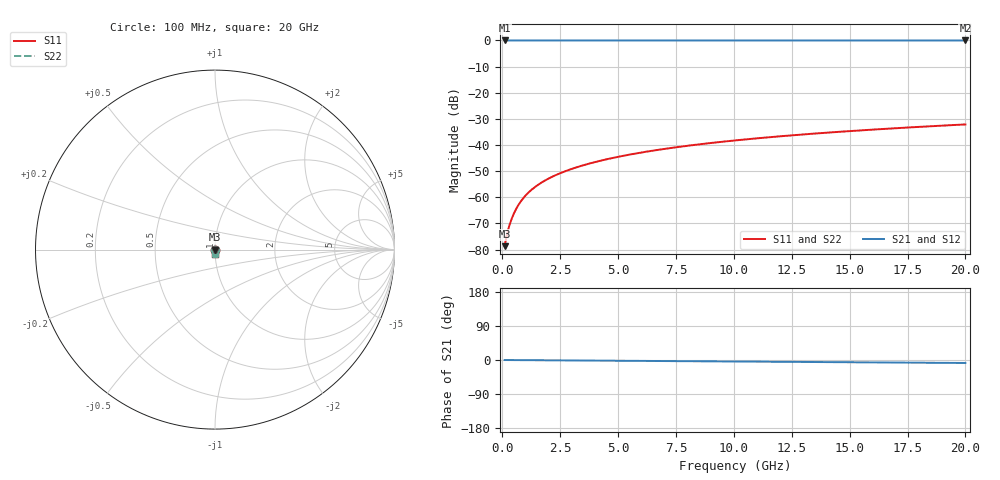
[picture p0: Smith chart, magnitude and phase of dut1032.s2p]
! Touchstone file exported from HFSS 2026.1.0
!  File:  C:/ffzhzh/LocalFiles/Ansys_Project_Files/temp_train_TSV_1032_1783189081_55132.aedt
!  Generated:  02:19:21 AM Jul  5, 2026
!  Design:  TSV
!  Project:  temp_train_TSV_1032_1783189081_55132
! Variables:
!  h_bsmrdl = 2um
!  h_ox = 20um
!  h_rdl = 5um
!  h_sub = 78.35um
!  h_tmrdl = 5um
!  h_tsv = 78.35um
!  h_via = 3um
!  l_bsmrdl = 300um
!  l_sub = 427.08um
!  l_tmrdl = 200um
!  m_sub = 200um
!  pitch = 45.6um
!  r_tsv = 13.54um
!  s_tmrdl = 10um
!  w_bsmrdl = 18um
!  w_sub = 500um
!  w_tmrdl = 12um
!  x_tsv_center1 = 206um
!  x_tsv_center2 = 524um
!  x_tsv_center3 = 736um
!  x_tsv_center4 = 1054um
!  x_tsv_center5 = 1266um
!  x_tsv_center6 = 1584um
# GHz S MA R 50.000000
! Terminal data exported
! Port[1] = TSV1_1_T1
! Port[2] = TSV1_1_T2
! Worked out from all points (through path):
!   200 points, 100 MHz to 20 GHz, reference 50 ohm
!   highest |S21| = 0.00 dB at 100 MHz (marker M1); lowest = 0.0 dB at 20 GHz (marker M2)
!   group delay of S21, straight-line fit = 1.09 ps
!   lowest |S11| = -78.7 dB at 100 MHz (marker M3), VSWR 1.00, Z = 50 - j0.00818 ohm
!   |S11| at or under -10 dB: start of sweep to end of sweep
!   |S22| runs from -78.7 to -32.1 dB; largest |S21 - S12| = 5.6e-15
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0.1  0.0001164 -44.7  0.9999 -0.0  0.9999 -0.0  0.0001164 -44.7
! Gamma 0 0 0 0
! Port Impedance 50 0 50 0
0.2  0.0001931 -60.1  0.9999 -0.1  0.9999 -0.1  0.0001931 -60.1
0.3  0.0002838 -65.9  0.9999 -0.1  0.9999 -0.1  0.0002838 -65.9
0.4  0.0003838 -68.8  0.9999 -0.2  0.9999 -0.2  0.0003838 -68.8
0.5  0.0004907 -70.7  0.9998 -0.2  0.9998 -0.2  0.0004907 -70.7
0.6  0.0006027 -72.2  0.9998 -0.2  0.9998 -0.2  0.0006027 -72.2
0.8  0.0008361 -74.6  0.9998 -0.3  0.9998 -0.3  0.0008361 -74.6
1.1  0.001196 -77.4  0.9997 -0.4  0.9997 -0.4  0.001196 -77.4
1.3  0.001438 -78.8  0.9997 -0.5  0.9997 -0.5  0.001438 -78.8
1.5  0.001681 -79.9  0.9997 -0.6  0.9997 -0.6  0.001681 -79.9
1.8  0.002044 -81.3  0.9997 -0.7  0.9997 -0.7  0.002044 -81.3
2.1  0.002407 -82.3  0.9996 -0.8  0.9996 -0.8  0.002407 -82.3
2.7  0.003133 -83.9  0.9996 -1.1  0.9996 -1.1  0.003133 -83.9
3.5  0.004106 -85.2  0.9995 -1.4  0.9995 -1.4  0.004106 -85.2
4.2  0.004962 -86.1  0.9995 -1.7  0.9995 -1.7  0.004962 -86.1
5  0.005947 -86.9  0.9995 -2.0  0.9995 -2.0  0.005947 -86.9
6.8  0.00818 -88.3  0.9993 -2.7  0.9993 -2.7  0.00818 -88.3
8.3  0.01005 -89.4  0.9993 -3.3  0.9993 -3.3  0.01005 -89.4
10.1  0.01231 -90.5  0.9992 -4.0  0.9992 -4.0  0.01231 -90.5
13.4  0.01645 -92.3  0.999 -5.3  0.999 -5.3  0.01645 -92.3
16.7  0.02061 -93.9  0.9988 -6.6  0.9988 -6.6  0.02061 -93.9
20  0.02478 -95.4  0.9986 -7.9  0.9986 -7.9  0.02478 -95.4
